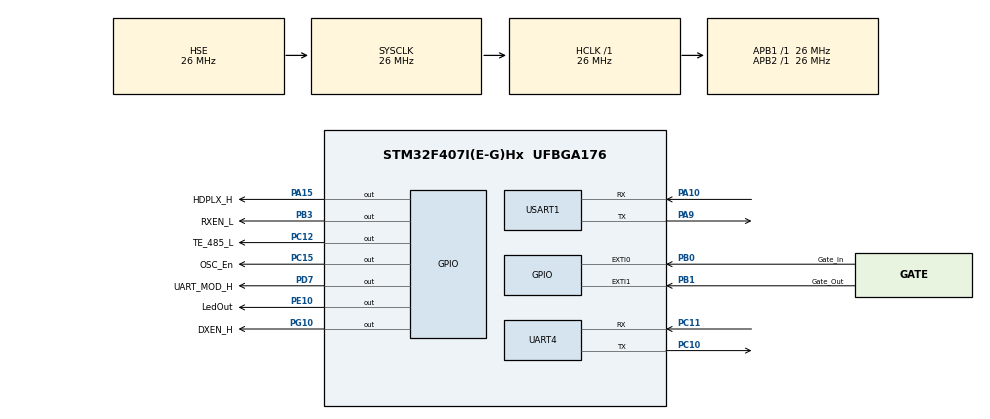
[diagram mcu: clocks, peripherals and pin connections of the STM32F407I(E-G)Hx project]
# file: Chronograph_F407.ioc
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Mcu.Family=STM32F4
Mcu.Name=STM32F407I(E-G)Hx
Mcu.Package=UFBGA176
NVIC.EXTI0_IRQn=true\:0\:0\:false\:true\:true\:1\:true\:true\:true
NVIC.EXTI1_IRQn=true\:0\:0\:false\:true\:true\:2\:true\:true\:true
NVIC.PriorityGroup=NVIC_PRIORITYGROUP_4
NVIC.TIM1_UP_TIM10_IRQn=true\:1\:0\:true\:true\:true\:3\:true\:true\:true
NVIC.TIM3_IRQn=true\:2\:0\:true\:false\:true\:true\:true\:true
NVIC.UART4_IRQn=true\:3\:0\:true\:false\:true\:true\:true\:true
NVIC.USART1_IRQn=true\:3\:0\:true\:true\:true\:4\:true\:true\:true
PA10.Mode=Asynchronous
PA10.Signal=USART1_RX
PA15.GPIO_Label=HDPLX_H
PA15.GPIO_PuPd=GPIO_PULLUP
PA15.PinState=GPIO_PIN_SET
PA15.Signal=GPIO_Output
PA9.Mode=Asynchronous
PA9.Signal=USART1_TX
PB0.GPIO_Label=Gate_In
PB0.GPIO_ModeDefaultEXTI=GPIO_MODE_IT_RISING
PB0.GPIO_PuPd=GPIO_PULLDOWN
PB0.Signal=GPXTI0
PB1.GPIO_Label=Gate_Out
PB1.GPIO_ModeDefaultEXTI=GPIO_MODE_IT_RISING
PB1.GPIO_PuPd=GPIO_PULLDOWN
PB1.Signal=GPXTI1
PB3.GPIO_Label=RXEN_L
PB3.GPIO_PuPd=GPIO_PULLDOWN
PB3.Signal=GPIO_Output
PC10.GPIO_ModeDefaultPP=GPIO_MODE_AF_PP
PC10.GPIO_PuPd=GPIO_NOPULL
PC10.Mode=Asynchronous
PC10.Signal=UART4_TX
PC11.GPIO_ModeDefaultPP=GPIO_MODE_AF_PP
PC11.GPIO_PuPd=GPIO_NOPULL
PC11.Mode=Asynchronous
PC11.Signal=UART4_RX
PC12.GPIO_Label=TE_485_L
PC12.GPIO_ModeDefaultOutputPP=GPIO_MODE_OUTPUT_PP
PC12.GPIO_PuPd=GPIO_PULLDOWN
PC12.Signal=GPIO_Output
PC15-OSC32_OUT.GPIO_Label=OSC_En
PC15-OSC32_OUT.GPIO_PuPd=GPIO_PULLUP
PC15-OSC32_OUT.PinState=GPIO_PIN_SET
PC15-OSC32_OUT.Signal=GPIO_Output
PD7.GPIO_Label=UART_MOD_H
PD7.GPIO_PuPd=GPIO_PULLUP
PD7.PinState=GPIO_PIN_SET
PD7.Signal=GPIO_Output
PE10.GPIO_Label=LedOut
PE10.GPIO_PuPd=GPIO_PULLUP
PE10.Signal=GPIO_Output
PG10.GPIO_Label=DXEN_H
PG10.GPIO_PuPd=GPIO_PULLUP
PG10.PinState=GPIO_PIN_SET
PG10.Signal=GPIO_Output
PH0-OSC_IN.Mode=HSE-External-Clock-Source
PH0-OSC_IN.Signal=RCC_OSC_IN
PH1-OSC_OUT.Mode=HSE-External-Clock-Source
PH1-OSC_OUT.Signal=RCC_OSC_OUT
ProjectManager.HeapSize=0x200
ProjectManager.StackSize=0x400
ProjectManager.TargetToolchain=STM32CubeIDE
RCC.48MHZClocksFreq_Value=78000000
RCC.AHBFreq_Value=26000000
RCC.APB1Freq_Value=26000000
RCC.APB1TimFreq_Value=26000000
RCC.APB2Freq_Value=26000000
RCC.APB2TimFreq_Value=26000000
RCC.CortexFreq_Value=26000000
RCC.EnbaleCSS=true
RCC.HCLKFreq_Value=26000000
RCC.HSE_VALUE=26000000
RCC.HSI_VALUE=16000000
RCC.LSE_VALUE=32768
RCC.PLLSourceVirtual=RCC_PLLSOURCE_HSE
RCC.RCC_MCO2Source=RCC_MCO2SOURCE_HSE
RCC.SYSCLKFreq_VALUE=26000000
RCC.SYSCLKSource=RCC_SYSCLKSOURCE_HSE
RCC.VCOOutputFreq_Value=312000000
TIM10.AutoReloadPreload=TIM_AUTORELOAD_PRELOAD_ENABLE
TIM10.Period=9999
TIM10.Prescaler=2599
TIM3.Period=50
TIM3.Prescaler=25
UART4.VirtualMode=Asynchronous
USART1.VirtualMode=VM_ASYNC
VP_TIM10_VS_ClockSourceINT.Mode=Enable_Timer
VP_TIM3_VS_ClockSourceINT.Mode=Internal
board=custom

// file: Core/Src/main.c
/* USER CODE BEGIN Header */
/**
  ******************************************************************************
  * @file           : main.c
  * @brief          : Chronograph application that designed for measuring time
  *                   between  consistently triggered two sensors and convert
  *                   this time to the speed in m/s. Distance between two sensors
  *                   known and permanent.
  ******************************************************************************
  * @attention
  *
  * Copyright (c) 2023 STMicroelectronics.
  * All rights reserved.
  *
  * This software is licensed under terms that can be found in the LICENSE file
  * in the root directory of this software component.
  * If no LICENSE file comes with this software, it is provided AS-IS.
  *
  ******************************************************************************
  */
/* USER CODE END Header */
#include "main.h"

TIM_HandleTypeDef htim3;
TIM_HandleTypeDef htim10;

UART_HandleTypeDef huart4;
UART_HandleTypeDef huart1;

void SystemClock_Config(void);
static void MX_GPIO_Init(void);
static void MX_TIM10_Init(void);
static void MX_USART1_UART_Init(void);
static void MX_TIM3_Init(void);
static void MX_UART4_Init(void);
static void MX_NVIC_Init(void);
/* USER CODE BEGIN PFP */
static void Init_SpeedMeasure();
static void Calculate_Speed();
static void CtrlRegister_Handler(uint32_t);

extern void HAL_TIM_PeriodElapsedCallback_Modbus(TIM_HandleTypeDef*);
extern void HAL_UART_RxCpltCallback_modbus(UART_HandleTypeDef*);
extern void HAL_UART_TxCpltCallback_modbus(UART_HandleTypeDef *huart);
/* USER CODE END PFP */

/* USER CODE BEGIN 0 */
volatile uint32_t tim10_elapsed_cnt;     //The counter counts overflows during the measurement  process
volatile uint32_t tim10_reminder;        //Ticks amount remained after the measurement stopped
volatile bool f_calc;                    //True if the measurement process finished and result should be calculated
volatile bool f_error;                   //True if error occurred during measurement process
volatile bool f_start;                   //True if the measurement process started - first sensor triggered

uint16_t object_speed;          //Speed in meters per second
uint32_t object_time_us;        //measured time in us
uint16_t measure_cnt;           //measurement counter

//Modbus holding and input registers array
uint16_t *Modbus_Data_Array[] = {&object_speed, (uint16_t*)&object_time_us, (uint16_t*)(&object_time_us) + 1, &measure_cnt};

//Modbus control register
uint8_t Modbus_Ctrl_Reg;
#define MEASURE_FLAG      0x01 //1 - if initiated the measurement process
#define INT_EDGE          0x02 //1-rising edge, 0-falling edge

/* USER CODE END 0 */

int main(void)
{
  /* USER CODE BEGIN 1 */
    //Initialize all used variables
    tim10_elapsed_cnt = 0;
    tim10_reminder = 0;
    f_calc = false;
    f_error =  false;
    f_start = false;
    object_speed = 0;
    object_time_us = 0;
    measure_cnt = 0;
    Modbus_Ctrl_Reg = 0;
  /* USER CODE END 1 */

  /* MCU Configuration--------------------------------------------------------*/

  /* Reset of all peripherals, Initializes the Flash interface and the Systick. */
  HAL_Init();

  /* Configure the system clock */
  SystemClock_Config();

  /* Initialize all configured peripherals */
  MX_GPIO_Init();
  MX_TIM10_Init();
  MX_USART1_UART_Init();
  MX_TIM3_Init();
  MX_UART4_Init();

  /* Initialize interrupts */
  MX_NVIC_Init();
  /* USER CODE BEGIN 2 */
    __disable_irq();

    HAL_GPIO_LockPin(OSC_En_GPIO_Port, OSC_En_Pin); //LOCK this pin settings because they are important - this pin enables HSE generator

    SET_BIT(Modbus_Ctrl_Reg, INT_EDGE); //default edge for the EXTI0/EXTI1 interrupt is rising

    //Disable EXTI0/1 IRQs until measurement process wasn't initiated
    HAL_NVIC_DisableIRQ(Gate_In_EXTI_IRQn);
    HAL_NVIC_DisableIRQ(Gate_Out_EXTI_IRQn);

    //Setup Modbus RTU module and enable it
    MT_PORT_SetTimerModule(&htim3);
    MT_PORT_SetUartModule(&huart4); //use uart1 for debug purposes
    eMBErrorCode eStatus;
    eStatus = eMBInit(MB_RTU, MODBUS_SLAVE_ADDRESS, 0, huart4.Init.BaudRate, MB_PAR_NONE);
    eStatus = eMBEnable();
    if (eStatus != MB_ENOERR)
    {
        // Error handling
    }
    __enable_irq();

  /* USER CODE END 2 */

  /* Infinite loop */
  /* USER CODE BEGIN WHILE */
  while (1)
  {
      eMBPoll(); //Modbus polling function

      if (f_calc == true)
      {
          f_calc = false;
          Calculate_Speed();
      }

      if (f_error == true)
      {
          f_error = false;
          object_speed = FALSE_START_SPEED_VAL;
      }
    /* USER CODE END WHILE */

  }
}

void SystemClock_Config(void)
{
  RCC_OscInitTypeDef RCC_OscInitStruct = {0};
  RCC_ClkInitTypeDef RCC_ClkInitStruct = {0};

  /** Configure the main internal regulator output voltage
  */
  __HAL_RCC_PWR_CLK_ENABLE();
  __HAL_PWR_VOLTAGESCALING_CONFIG(PWR_REGULATOR_VOLTAGE_SCALE1);

  /** Initializes the RCC Oscillators according to the specified parameters
  * in the RCC_OscInitTypeDef structure.
  */
  RCC_OscInitStruct.OscillatorType = RCC_OSCILLATORTYPE_HSE;
  RCC_OscInitStruct.HSEState = RCC_HSE_BYPASS;
  RCC_OscInitStruct.PLL.PLLState = RCC_PLL_NONE;
  if (HAL_RCC_OscConfig(&RCC_OscInitStruct) != HAL_OK)
  {
    Error_Handler();
  }

  /** Initializes the CPU, AHB and APB buses clocks
  */
  RCC_ClkInitStruct.ClockType = RCC_CLOCKTYPE_HCLK|RCC_CLOCKTYPE_SYSCLK
                              |RCC_CLOCKTYPE_PCLK1|RCC_CLOCKTYPE_PCLK2;
  RCC_ClkInitStruct.SYSCLKSource = RCC_SYSCLKSOURCE_HSE;
  RCC_ClkInitStruct.AHBCLKDivider = RCC_SYSCLK_DIV1;
  RCC_ClkInitStruct.APB1CLKDivider = RCC_HCLK_DIV1;
  RCC_ClkInitStruct.APB2CLKDivider = RCC_HCLK_DIV1;

  if (HAL_RCC_ClockConfig(&RCC_ClkInitStruct, FLASH_LATENCY_0) != HAL_OK)
  {
    Error_Handler();
  }

  /** Enables the Clock Security System
  */
  HAL_RCC_EnableCSS();
}

/**
  * @brief NVIC Configuration.
  * @retval None
  */
static void MX_NVIC_Init(void)
{
  /* EXTI0_IRQn interrupt configuration */
  HAL_NVIC_SetPriority(EXTI0_IRQn, 0, 0);
  HAL_NVIC_EnableIRQ(EXTI0_IRQn);
  /* EXTI1_IRQn interrupt configuration */
  HAL_NVIC_SetPriority(EXTI1_IRQn, 0, 0);
  HAL_NVIC_EnableIRQ(EXTI1_IRQn);
  /* TIM1_UP_TIM10_IRQn interrupt configuration */
  HAL_NVIC_SetPriority(TIM1_UP_TIM10_IRQn, 1, 0);
  HAL_NVIC_EnableIRQ(TIM1_UP_TIM10_IRQn);
  /* USART1_IRQn interrupt configuration */
  HAL_NVIC_SetPriority(USART1_IRQn, 3, 0);
  HAL_NVIC_EnableIRQ(USART1_IRQn);
}

static void MX_TIM3_Init(void)
{

  TIM_ClockConfigTypeDef sClockSourceConfig = {0};
  TIM_MasterConfigTypeDef sMasterConfig = {0};

  htim3.Instance = TIM3;
  htim3.Init.Prescaler = 25;
  htim3.Init.CounterMode = TIM_COUNTERMODE_UP;
  htim3.Init.Period = 50;
  htim3.Init.ClockDivision = TIM_CLOCKDIVISION_DIV1;
  htim3.Init.AutoReloadPreload = TIM_AUTORELOAD_PRELOAD_DISABLE;
  if (HAL_TIM_Base_Init(&htim3) != HAL_OK)
  {
    Error_Handler();
  }
  sClockSourceConfig.ClockSource = TIM_CLOCKSOURCE_INTERNAL;
  if (HAL_TIM_ConfigClockSource(&htim3, &sClockSourceConfig) != HAL_OK)
  {
    Error_Handler();
  }
  sMasterConfig.MasterOutputTrigger = TIM_TRGO_RESET;
  sMasterConfig.MasterSlaveMode = TIM_MASTERSLAVEMODE_DISABLE;
  if (HAL_TIMEx_MasterConfigSynchronization(&htim3, &sMasterConfig) != HAL_OK)
  {
    Error_Handler();
  }

}

static void MX_TIM10_Init(void)
{

  htim10.Instance = TIM10;
  htim10.Init.Prescaler = 2599;
  htim10.Init.CounterMode = TIM_COUNTERMODE_UP;
  htim10.Init.Period = 9999;
  htim10.Init.ClockDivision = TIM_CLOCKDIVISION_DIV1;
  htim10.Init.AutoReloadPreload = TIM_AUTORELOAD_PRELOAD_ENABLE;
  if (HAL_TIM_Base_Init(&htim10) != HAL_OK)
  {
    Error_Handler();
  }

}

static void MX_UART4_Init(void)
{

  huart4.Instance = UART4;
  huart4.Init.BaudRate = 115200;
  huart4.Init.WordLength = UART_WORDLENGTH_8B;
  huart4.Init.StopBits = UART_STOPBITS_1;
  huart4.Init.Parity = UART_PARITY_NONE;
  huart4.Init.Mode = UART_MODE_TX_RX;
  huart4.Init.HwFlowCtl = UART_HWCONTROL_NONE;
  huart4.Init.OverSampling = UART_OVERSAMPLING_16;
  if (HAL_UART_Init(&huart4) != HAL_OK)
  {
    Error_Handler();
  }

}

static void MX_USART1_UART_Init(void)
{

  huart1.Instance = USART1;
  huart1.Init.BaudRate = 115200;
  huart1.Init.WordLength = UART_WORDLENGTH_8B;
  huart1.Init.StopBits = UART_STOPBITS_1;
  huart1.Init.Parity = UART_PARITY_NONE;
  huart1.Init.Mode = UART_MODE_TX_RX;
  huart1.Init.HwFlowCtl = UART_HWCONTROL_NONE;
  huart1.Init.OverSampling = UART_OVERSAMPLING_16;
  if (HAL_UART_Init(&huart1) != HAL_OK)
  {
    Error_Handler();
  }

}

static void MX_GPIO_Init(void)
{
  GPIO_InitTypeDef GPIO_InitStruct = {0};

  /* GPIO Ports Clock Enable */
  __HAL_RCC_GPIOB_CLK_ENABLE();
  __HAL_RCC_GPIOD_CLK_ENABLE();
  __HAL_RCC_GPIOC_CLK_ENABLE();
  __HAL_RCC_GPIOA_CLK_ENABLE();
  __HAL_RCC_GPIOG_CLK_ENABLE();
  __HAL_RCC_GPIOH_CLK_ENABLE();
  __HAL_RCC_GPIOE_CLK_ENABLE();

  /*Configure GPIO pin Output Level */
  HAL_GPIO_WritePin(RXEN_L_GPIO_Port, RXEN_L_Pin, GPIO_PIN_RESET);

  /*Configure GPIO pin Output Level */
  HAL_GPIO_WritePin(UART_MOD_H_GPIO_Port, UART_MOD_H_Pin, GPIO_PIN_SET);

  /*Configure GPIO pin Output Level */
  HAL_GPIO_WritePin(TE_485_L_GPIO_Port, TE_485_L_Pin, GPIO_PIN_RESET);

  /*Configure GPIO pin Output Level */
  HAL_GPIO_WritePin(HDPLX_H_GPIO_Port, HDPLX_H_Pin, GPIO_PIN_SET);

  /*Configure GPIO pin Output Level */
  HAL_GPIO_WritePin(DXEN_H_GPIO_Port, DXEN_H_Pin, GPIO_PIN_SET);

  /*Configure GPIO pin Output Level */
  HAL_GPIO_WritePin(OSC_En_GPIO_Port, OSC_En_Pin, GPIO_PIN_SET);

  /*Configure GPIO pin Output Level */
  HAL_GPIO_WritePin(LedOut_GPIO_Port, LedOut_Pin, GPIO_PIN_RESET);

  /*Configure GPIO pin : RXEN_L_Pin */
  GPIO_InitStruct.Pin = RXEN_L_Pin;
  GPIO_InitStruct.Mode = GPIO_MODE_OUTPUT_PP;
  GPIO_InitStruct.Pull = GPIO_PULLDOWN;
  GPIO_InitStruct.Speed = GPIO_SPEED_FREQ_LOW;
  HAL_GPIO_Init(RXEN_L_GPIO_Port, &GPIO_InitStruct);

  /*Configure GPIO pin : UART_MOD_H_Pin */
  GPIO_InitStruct.Pin = UART_MOD_H_Pin;
  GPIO_InitStruct.Mode = GPIO_MODE_OUTPUT_PP;
  GPIO_InitStruct.Pull = GPIO_PULLUP;
  GPIO_InitStruct.Speed = GPIO_SPEED_FREQ_LOW;
  HAL_GPIO_Init(UART_MOD_H_GPIO_Port, &GPIO_InitStruct);

  /*Configure GPIO pin : TE_485_L_Pin */
  GPIO_InitStruct.Pin = TE_485_L_Pin;
  GPIO_InitStruct.Mode = GPIO_MODE_OUTPUT_PP;
  GPIO_InitStruct.Pull = GPIO_PULLDOWN;
  GPIO_InitStruct.Speed = GPIO_SPEED_FREQ_LOW;
  HAL_GPIO_Init(TE_485_L_GPIO_Port, &GPIO_InitStruct);

  /*Configure GPIO pin : HDPLX_H_Pin */
  GPIO_InitStruct.Pin = HDPLX_H_Pin;
  GPIO_InitStruct.Mode = GPIO_MODE_OUTPUT_PP;
  GPIO_InitStruct.Pull = GPIO_PULLUP;
  GPIO_InitStruct.Speed = GPIO_SPEED_FREQ_LOW;
  HAL_GPIO_Init(HDPLX_H_GPIO_Port, &GPIO_InitStruct);

  /*Configure GPIO pin : DXEN_H_Pin */
  GPIO_InitStruct.Pin = DXEN_H_Pin;
  GPIO_InitStruct.Mode = GPIO_MODE_OUTPUT_PP;
  GPIO_InitStruct.Pull = GPIO_PULLUP;
  GPIO_InitStruct.Speed = GPIO_SPEED_FREQ_LOW;
  HAL_GPIO_Init(DXEN_H_GPIO_Port, &GPIO_InitStruct);

  /*Configure GPIO pin : OSC_En_Pin */
  GPIO_InitStruct.Pin = OSC_En_Pin;
  GPIO_InitStruct.Mode = GPIO_MODE_OUTPUT_PP;
  GPIO_InitStruct.Pull = GPIO_PULLUP;
  GPIO_InitStruct.Speed = GPIO_SPEED_FREQ_LOW;
  HAL_GPIO_Init(OSC_En_GPIO_Port, &GPIO_InitStruct);

  /*Configure GPIO pins : Gate_Out_Pin Gate_In_Pin */
  GPIO_InitStruct.Pin = Gate_Out_Pin|Gate_In_Pin;
  GPIO_InitStruct.Mode = GPIO_MODE_IT_RISING;
  GPIO_InitStruct.Pull = GPIO_PULLDOWN;
  HAL_GPIO_Init(GPIOB, &GPIO_InitStruct);

  /*Configure GPIO pin : LedOut_Pin */
  GPIO_InitStruct.Pin = LedOut_Pin;
  GPIO_InitStruct.Mode = GPIO_MODE_OUTPUT_PP;
  GPIO_InitStruct.Pull = GPIO_PULLUP;
  GPIO_InitStruct.Speed = GPIO_SPEED_FREQ_LOW;
  HAL_GPIO_Init(LedOut_GPIO_Port, &GPIO_InitStruct);

}

/* USER CODE BEGIN 4 */
void HAL_GPIO_EXTI_Callback(uint16_t GPIO_Pin)
{
    __disable_irq();
    if (GPIO_Pin == Gate_In_Pin)
    {
       if (READ_BIT(Modbus_Ctrl_Reg, MEASURE_FLAG) && f_start == false)
       {
           HAL_NVIC_DisableIRQ(Gate_In_EXTI_IRQn); //Disable EXTI0 interrupt to exclude debounce

           tim10_elapsed_cnt = 0;
           tim10_reminder = 0;

           f_start = true;
           f_error =  false;

           //Clear all pending EXTI1 interrupts and enable interrupt
           while (HAL_NVIC_GetPendingIRQ(Gate_Out_EXTI_IRQn))
           {
               __HAL_GPIO_EXTI_CLEAR_IT(Gate_Out_Pin);
               HAL_NVIC_ClearPendingIRQ(Gate_Out_EXTI_IRQn);
           }
           HAL_NVIC_EnableIRQ(Gate_Out_EXTI_IRQn);

           __HAL_TIM_SET_COUNTER(&htim10, 0); //Erase timer counter and start it
           //HAL_TIM_Base_Start_IT(&htim10);

           HAL_GPIO_WritePin(LedOut_GPIO_Port, LedOut_Pin, GPIO_PIN_SET); //RED LED turned on
       }
    }
    else if (GPIO_Pin == Gate_Out_Pin)
    {
        if (READ_BIT(Modbus_Ctrl_Reg, MEASURE_FLAG) && f_start == true)
        {
            HAL_NVIC_DisableIRQ(Gate_Out_EXTI_IRQn); //Disable EXTI1 interrupt to exclude debounce

            HAL_TIM_Base_Stop_IT(&htim10);  //Stop timer counter and save the counter value
            tim10_reminder = __HAL_TIM_GET_COUNTER(&htim10);

            CLEAR_BIT(Modbus_Ctrl_Reg, MEASURE_FLAG);
            f_start = false;
            f_calc = true;

            HAL_GPIO_WritePin(LedOut_GPIO_Port, LedOut_Pin, GPIO_PIN_RESET); //RED LED turned off
        }
    }
    __enable_irq();
}

/**
  * @brief UART RX complete callback
  * @retval None
  */
void HAL_UART_RxCpltCallback(UART_HandleTypeDef *huart)
{
    HAL_UART_RxCpltCallback_modbus(huart);
}

/**
  * @brief UART TX complete callback
  * @retval None
  */
void HAL_UART_TxCpltCallback(UART_HandleTypeDef *huart)
{
    HAL_UART_TxCpltCallback_modbus(huart);
}

/**
  * @brief Timer tim10 elapsed period callback
  * @retval None
  */
void HAL_TIM_PeriodElapsedCallback(TIM_HandleTypeDef *htim)
{
    HAL_TIM_PeriodElapsedCallback_Modbus(htim);

    __disable_irq();
    if (htim->Instance == TIM10)
    {
        if(f_start == true)
        {
            //check for the false start case
            if (++tim10_elapsed_cnt == FALSE_START_TIMEOUT)
            {
                HAL_TIM_Base_Stop_IT(&htim10);  //Don't need timer any more -  stop it
                HAL_NVIC_DisableIRQ(Gate_Out_EXTI_IRQn); //Disable EXTI1 interrupt - don't need it any more

                f_error =  true;
                CLEAR_BIT(Modbus_Ctrl_Reg, MEASURE_FLAG);
                f_start = false;
                f_calc = false;

                HAL_GPIO_WritePin(LedOut_GPIO_Port, LedOut_Pin, GPIO_PIN_RESET);  //RED LED turned off
            }
            else
            {
                HAL_GPIO_TogglePin(LedOut_GPIO_Port, LedOut_Pin);
            }
        }
    }
    __enable_irq();
}

/**
  * @brief Initialize the speed measurement process
  * @retval None
  */
static void Init_SpeedMeasure()
{
    __disable_irq();
    //Clear all pending EXTI0 interrupts and enable interrupt
    while (HAL_NVIC_GetPendingIRQ(Gate_In_EXTI_IRQn))
    {
        __HAL_GPIO_EXTI_CLEAR_IT(Gate_In_Pin);
        HAL_NVIC_ClearPendingIRQ(Gate_In_EXTI_IRQn);
    }
    HAL_NVIC_EnableIRQ(Gate_In_EXTI_IRQn);

    HAL_TIM_Base_Start_IT(&htim10);
    __enable_irq();
}

/**
  * @brief Calculate the object speed (m/s) and transmit it through the UART interface
  * @retval None
  */
static void Calculate_Speed()
{
    uint32_t time_us;

    /*time_us =  ONE_TICK_US * (tim10_elapsed_cnt * TIM10_Period + tim10_reminder) ;

    object_speed = ((REEL_LENGTH_CM * 1000000) / time_us) / 100; //speed in meters per second*/

    if (tim10_elapsed_cnt == 0 && tim10_reminder == 0) //case if two sensors were triggered simultaneously
    {
        object_speed = FALSE_START_SPEED_VAL - 1; //to identify this situation from others
    }
    else
    {
        time_us = tim10_elapsed_cnt * TIM10_Period + tim10_reminder;

        object_speed = (uint16_t)( ( MAX_CM_PER_SEC / time_us ) / 10); //speed in tenth of centimeters per second

        object_time_us = time_us * ONE_TICK_US; //time in us

        ++measure_cnt;
    }
}

/**
  * @brief
  * @retval eMBErrorCode
  */
eMBErrorCode eMBRegInputCB(uint8_t *pucRegBuffer, uint16_t usAddress, uint16_t usNRegs)
{
    eMBErrorCode eStatus = MB_ENOERR;
    uint32_t iRegIndex;

    if ((usAddress >= REG_INPUT_START) &&
        (usAddress + usNRegs <= REG_INPUT_START + REG_INPUT_NREGS))
    {
        iRegIndex = (uint32_t)(usAddress - REG_INPUT_START);
        while(usNRegs > 0)
        {
            *pucRegBuffer++ = *Modbus_Data_Array[iRegIndex] >> 8;
            *pucRegBuffer++ = *Modbus_Data_Array[iRegIndex] & 0xFF;
            iRegIndex++;
            usNRegs--;
        }
    }
    else
    {
        eStatus = MB_ENOREG;
    }

    return eStatus;
}

/**
  * @brief
  * @retval eMBErrorCode
  */
eMBErrorCode eMBRegHoldingCB(uint8_t * pucRegBuffer, uint16_t usAddress, uint16_t usNRegs, eMBRegisterMode eMode)
{
    eMBErrorCode eStatus = MB_ENOERR;
    uint32_t iRegIndex;

    if ( (usAddress >= REG_HOLDING_START) && (usAddress + usNRegs <= REG_HOLDING_START + REG_HOLDING_NREGS) )
    {
        iRegIndex = (uint32_t)(usAddress - REG_HOLDING_START);
        switch (eMode)
        {
            /* Pass current register values to the protocol stack. */
            case MB_REG_READ:
                while (usNRegs > 0)
                {
                    *pucRegBuffer++ = *Modbus_Data_Array[iRegIndex] >> 8;
                    *pucRegBuffer++ = *Modbus_Data_Array[iRegIndex] & 0xFF;
                    iRegIndex++;
                    usNRegs--;
                }
                break;

                /* Update current register values with new values from the
                 * protocol stack. */
            case MB_REG_WRITE:
                while (usNRegs > 0)
                {
                    *Modbus_Data_Array[iRegIndex] = *pucRegBuffer++ << 8;
                    *Modbus_Data_Array[iRegIndex] |= *pucRegBuffer++;
                    iRegIndex++;
                    usNRegs--;
                }
        }
    }
    else
    {
        eStatus = MB_ENOREG;
    }

    return eStatus;
}

/**
  * @brief
  * @retval eMBErrorCode
  */
eMBErrorCode eMBRegCoilsCB(uint8_t * pucRegBuffer, uint16_t usAddress, uint16_t usNCoils, eMBRegisterMode eMode)
{
     eMBErrorCode eStatus = MB_ENOERR;
     uint32_t iBitIndex;

     if ( (usAddress >= REG_COILS_START) && (usAddress + usNCoils <= REG_COILS_START + REG_COILS_NREGS) )
     {
         iBitIndex = (uint32_t)(usAddress - REG_COILS_START);

         switch (eMode)
         {
             case MB_REG_READ:
             {
                 while (usNCoils > 0)
                 {
                     UCHAR ucResult = xMBUtilGetBits(&Modbus_Ctrl_Reg, iBitIndex, 1);
                     xMBUtilSetBits(pucRegBuffer, iBitIndex - (usAddress - REG_COILS_START), 1, ucResult);
                     iBitIndex++;
                     usNCoils--;
                 }
                 break;
             }
             case MB_REG_WRITE:
             {
                 while (usNCoils > 0)
                 {
                     UCHAR ucResult = xMBUtilGetBits(pucRegBuffer, iBitIndex - (usAddress - REG_COILS_START), 1);
                     xMBUtilSetBits(&Modbus_Ctrl_Reg, iBitIndex, 1, ucResult );

                     CtrlRegister_Handler(iBitIndex); //Control register Bits handler

                     iBitIndex++;
                     usNCoils--;
                 }
                 break;
             }
         }
     }
     else
     {
         eStatus = MB_ENOREG;
     }

     return eStatus;
}

/**
  * @brief
  * @retval eMBErrorCode
  */
eMBErrorCode eMBRegDiscreteCB(uint8_t * pucRegBuffer, uint16_t usAddress, uint16_t usNDiscrete)
{

    return MB_ENOERR;
}

/**
  * @brief Control register's bits handler
  * @retval None
  */
static void CtrlRegister_Handler(uint32_t bit)
{
    switch(bit)
    {
        case 0: //Bit 0 of Control Register
        {
            if (READ_BIT(Modbus_Ctrl_Reg, MEASURE_FLAG))
            {
                Init_SpeedMeasure();
            }
            break;
        }

        case 1: //Bit 1 of Control Register
        {
            GPIO_InitTypeDef GPIO_InitStruct = {0};

            if (READ_BIT(Modbus_Ctrl_Reg, INT_EDGE))
            {
                GPIO_InitStruct.Pin = Gate_Out_Pin|Gate_In_Pin;
                GPIO_InitStruct.Mode = GPIO_MODE_IT_RISING;
                GPIO_InitStruct.Pull = GPIO_PULLDOWN;
            }
            else
            {
                GPIO_InitStruct.Pin = Gate_Out_Pin|Gate_In_Pin;
                GPIO_InitStruct.Mode = GPIO_MODE_IT_FALLING;
                GPIO_InitStruct.Pull = GPIO_PULLUP;
            }
            HAL_GPIO_Init(GPIOB, &GPIO_InitStruct);
            break;
        }

        default:
            break;
    }
}

/**
  * @brief Enable LTC2870 RX mode
  * @retval
  */
void LTC2870_RX485_En_Rx()
{
    HAL_GPIO_WritePin(RXEN_L_GPIO_Port, RXEN_L_Pin, GPIO_PIN_RESET);
    HAL_GPIO_WritePin(DXEN_H_GPIO_Port, DXEN_H_Pin, GPIO_PIN_RESET);
}

/**
  * @brief Enable LTC2870 TX mode
  * @retval
  */
void LTC2870_RX485_En_Tx()
{
    HAL_GPIO_WritePin(RXEN_L_GPIO_Port, RXEN_L_Pin, GPIO_PIN_SET);
    HAL_GPIO_WritePin(DXEN_H_GPIO_Port, DXEN_H_Pin, GPIO_PIN_SET);
}

/* USER CODE END 4 */

void Error_Handler(void)
{
  __disable_irq();
  while (1)
  {
  }
}
